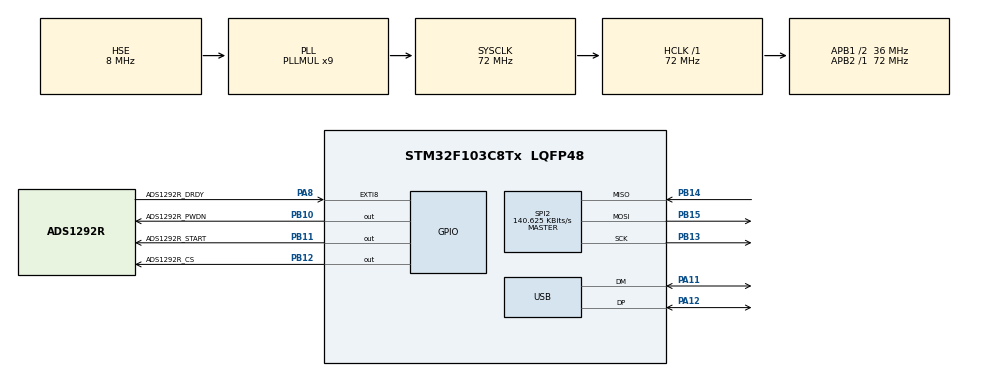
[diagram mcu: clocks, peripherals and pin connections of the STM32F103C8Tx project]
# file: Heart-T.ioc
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Dma.Request0=SPI2_RX
Dma.Request1=SPI2_TX
Dma.SPI2_RX.0.Direction=DMA_PERIPH_TO_MEMORY
Dma.SPI2_RX.0.Instance=DMA1_Channel4
Dma.SPI2_RX.0.MemDataAlignment=DMA_MDATAALIGN_BYTE
Dma.SPI2_RX.0.MemInc=DMA_MINC_ENABLE
Dma.SPI2_RX.0.Mode=DMA_NORMAL
Dma.SPI2_RX.0.PeriphDataAlignment=DMA_PDATAALIGN_BYTE
Dma.SPI2_RX.0.PeriphInc=DMA_PINC_DISABLE
Dma.SPI2_RX.0.Priority=DMA_PRIORITY_LOW
Dma.SPI2_TX.1.Direction=DMA_MEMORY_TO_PERIPH
Dma.SPI2_TX.1.Instance=DMA1_Channel5
Dma.SPI2_TX.1.MemDataAlignment=DMA_MDATAALIGN_BYTE
Dma.SPI2_TX.1.MemInc=DMA_MINC_ENABLE
Dma.SPI2_TX.1.Mode=DMA_NORMAL
Dma.SPI2_TX.1.PeriphDataAlignment=DMA_PDATAALIGN_BYTE
Dma.SPI2_TX.1.PeriphInc=DMA_PINC_DISABLE
Dma.SPI2_TX.1.Priority=DMA_PRIORITY_LOW
Mcu.Family=STM32F1
Mcu.Name=STM32F103C8Tx
Mcu.Package=LQFP48
NVIC.DMA1_Channel4_IRQn=true\:5\:0\:false\:false\:true\:true\:true\:true\:true
NVIC.DMA1_Channel5_IRQn=true\:5\:0\:false\:false\:true\:true\:true\:true\:true
NVIC.EXTI9_5_IRQn=true\:5\:0\:false\:false\:true\:true\:true\:true\:true
NVIC.PriorityGroup=NVIC_PRIORITYGROUP_4
NVIC.TIM2_IRQn=true\:15\:0\:false\:false\:true\:true\:true\:true\:true
NVIC.TimeBase=TIM2_IRQn
NVIC.TimeBaseIP=TIM2
PA11.Mode=Device
PA11.Signal=USB_DM
PA12.Mode=Device
PA12.Signal=USB_DP
PA13.Mode=Serial_Wire
PA13.Signal=SYS_JTMS-SWDIO
PA14.Mode=Serial_Wire
PA14.Signal=SYS_JTCK-SWCLK
PA8.GPIO_Label=ADS1292R_DRDY
PA8.GPIO_ModeDefaultEXTI=GPIO_MODE_IT_FALLING
PA8.Signal=GPXTI8
PB10.GPIO_Label=ADS1292R_PWDN
PB10.GPIO_Speed=GPIO_SPEED_FREQ_LOW
PB10.PinState=GPIO_PIN_RESET
PB10.Signal=GPIO_Output
PB11.GPIO_Label=ADS1292R_START
PB11.GPIO_Speed=GPIO_SPEED_FREQ_LOW
PB11.PinState=GPIO_PIN_RESET
PB11.Signal=GPIO_Output
PB12.GPIO_Label=ADS1292R_CS
PB12.GPIO_Speed=GPIO_SPEED_FREQ_HIGH
PB12.PinState=GPIO_PIN_SET
PB12.Signal=GPIO_Output
PB13.Signal=SPI2_SCK
PB13.Mode=Full_Duplex_Master
PB14.Signal=SPI2_MISO
PB14.Mode=Full_Duplex_Master
PB15.Signal=SPI2_MOSI
PB15.Mode=Full_Duplex_Master
PD0-OSC_IN.Mode=HSE-External-Oscillator
PD0-OSC_IN.Signal=RCC_OSC_IN
PD1-OSC_OUT.Mode=HSE-External-Oscillator
PD1-OSC_OUT.Signal=RCC_OSC_OUT
ProjectManager.HeapSize=0x200
ProjectManager.StackSize=0x400
ProjectManager.TargetToolchain=CMake
RCC.AHBFreq_Value=72000000
RCC.APB1CLKDivider=RCC_HCLK_DIV2
RCC.APB1Freq_Value=36000000
RCC.APB1TimFreq_Value=72000000
RCC.APB2Freq_Value=72000000
RCC.APB2TimFreq_Value=72000000
RCC.CortexFreq_Value=72000000
RCC.HCLKFreq_Value=72000000
RCC.HSE_VALUE=8000000
RCC.HSI_VALUE=8000000
RCC.PLLMUL=RCC_PLL_MUL9
RCC.PLLSourceVirtual=RCC_PLLSOURCE_HSE
RCC.SYSCLKFreq_VALUE=72000000
RCC.SYSCLKSource=RCC_SYSCLKSOURCE_PLLCLK
RCC.USBClockSelection=RCC_USBCLKSOURCE_PLL_DIV1_5
RCC.USBFreq_Value=48000000
SPI2.BaudRatePrescaler=SPI_BAUDRATEPRESCALER_256
SPI2.CLKPhase=SPI_PHASE_2EDGE
SPI2.CalculateBaudRate=140.625 KBits/s
SPI2.DataSize=SPI_DATASIZE_8BIT
SPI2.Direction=SPI_DIRECTION_2LINES
SPI2.Mode=SPI_MODE_MASTER
SPI2.VirtualNSS=VM_NSS_Soft
SPI2.VirtualType=VM_MASTER
SYS.Debug=Serial_Wire
USB.VirtualMode=Device
VP_SYS_VS_tim2.Mode=TIM2
board=custom

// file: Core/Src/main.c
/* USER CODE BEGIN Header */
/**
  ******************************************************************************
  * @file           : main.c
  * @brief          : Main program body
  ******************************************************************************
  * @attention
  *
  * Copyright (c) 2026 STMicroelectronics.
  * All rights reserved.
  *
  * This software is licensed under terms that can be found in the LICENSE file
  * in the root directory of this software component.
  * If no LICENSE file comes with this software, it is provided AS-IS.
  *
  ******************************************************************************
  */
/* USER CODE END Header */
#include "main.h"
#include "dma.h"
#include "spi.h"
#include "usb.h"
#include "gpio.h"

/* USER CODE BEGIN Includes */
#include "taskmanager.h"
#include "drvusb.h"
#include "log.h"
#if LOG_CONSOLE_ENABLE
#include "console.h"
#include "sysdebug.h"
#endif
#include "system.h"
/* USER CODE END Includes */

void SystemClock_Config(void);

int main(void)
{

  /* MCU Configuration--------------------------------------------------------*/

  /* Reset of all peripherals, Initializes the Flash interface and the Systick. */
  HAL_Init();

  /* Configure the system clock */
  SystemClock_Config();

  /* Initialize all configured peripherals */
  MX_GPIO_Init();
  MX_DMA_Init();
  MX_SPI2_Init();
  /* USER CODE BEGIN USB_Disconnect */
  drvUsbDisconnect();
  /* USER CODE END USB_Disconnect */
  MX_USB_PCD_Init();
  /* USER CODE BEGIN 2 */
  if (!logInit()) {
    Error_Handler();
  }
#if LOG_CONSOLE_ENABLE
  consoleInit();
  if (!sysdebugConsoleRegister()) {
    LOG_E("main", "console registration failed");
    (void)logFlush();
    Error_Handler();
  }
#endif
  LOG_I("main", "%s firmware=%s hardware=%s boot", systemGetFirmwareName(),
        systemGetFirmwareVersion(), systemGetHardwareVersion());
  (void)logFlush();
  /* USER CODE END 2 */

  /* All periodic services run cooperatively in the main loop. */
  systemInit();
  taskManagerInit();

  /* Infinite loop */
  while (1)
  {

    /* USER CODE BEGIN 3 */
    taskManagerProcess();
  }
  /* USER CODE END 3 */
}

void SystemClock_Config(void) {
    RCC_OscInitTypeDef lOsc = {0};
    RCC_ClkInitTypeDef lClock = {0};
    RCC_PeriphCLKInitTypeDef lPeripheral = {0};

    /* Reference board: 8 MHz HSE, 72 MHz core, 36 MHz APB1. */
    lOsc.OscillatorType = RCC_OSCILLATORTYPE_HSE;
    lOsc.HSEState = RCC_HSE_ON;
    lOsc.HSIState = RCC_HSI_ON;
    lOsc.PLL.PLLState = RCC_PLL_ON;
    lOsc.PLL.PLLSource = RCC_PLLSOURCE_HSE;
    lOsc.PLL.PLLMUL = RCC_PLL_MUL9;
    if (HAL_RCC_OscConfig(&lOsc) != HAL_OK) {
        Error_Handler();
    }
    lClock.ClockType = RCC_CLOCKTYPE_HCLK | RCC_CLOCKTYPE_SYSCLK |
                      RCC_CLOCKTYPE_PCLK1 | RCC_CLOCKTYPE_PCLK2;
    lClock.SYSCLKSource = RCC_SYSCLKSOURCE_PLLCLK;
    lClock.AHBCLKDivider = RCC_SYSCLK_DIV1;
    lClock.APB1CLKDivider = RCC_HCLK_DIV2;
    lClock.APB2CLKDivider = RCC_HCLK_DIV1;
    if (HAL_RCC_ClockConfig(&lClock, FLASH_LATENCY_2) != HAL_OK) {
        Error_Handler();
    }
    lPeripheral.PeriphClockSelection = RCC_PERIPHCLK_USB;
    lPeripheral.UsbClockSelection = RCC_USBCLKSOURCE_PLL_DIV1_5;
    if (HAL_RCCEx_PeriphCLKConfig(&lPeripheral) != HAL_OK) {
        Error_Handler();
    }
}

void HAL_TIM_PeriodElapsedCallback(TIM_HandleTypeDef *htim)
{
  if (htim->Instance == TIM2)
  {
    HAL_IncTick();
  }
}

void Error_Handler(void)
{
  __disable_irq();
  while (1)
  {
  }
}
